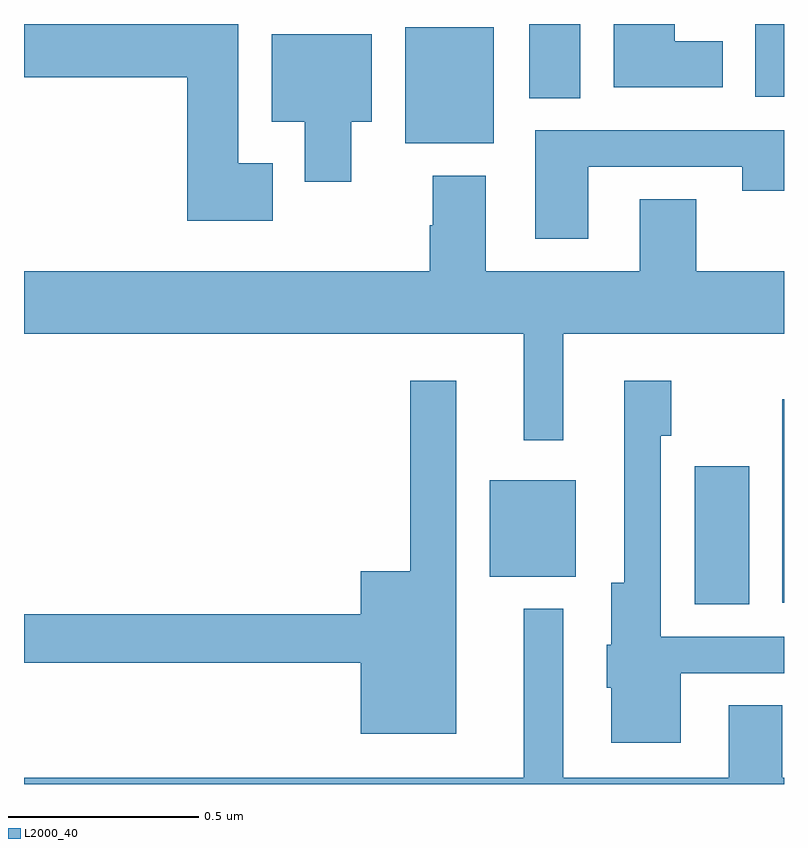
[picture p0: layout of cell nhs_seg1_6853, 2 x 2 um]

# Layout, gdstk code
import gdstk
lib = gdstk.Library(unit=1e-6, precision=1e-09)
def R(c, l, rs):  # rectangles x0, y0, x1, y1
    for r in rs: c.add(gdstk.rectangle(r[:2], r[2:], *l))
def P(c, l, *ps):  # polygons
    for p in ps: c.add(gdstk.Polygon(p, *l))
L2000_40 = (2000, 40)

nhs_seg1_6853 = lib.new_cell('nhs_seg1_6853')
R(nhs_seg1_6853, L2000_40, [(197.765,565.672,197.908,566.035), (197.996,565.676,198,566.212), (197.225,565.745,197.452,565.999), (197.003,566.885,197.236,567.19), (197.33,567.004,197.464,567.199), (197.924,567.008,198,567.199)])
P(nhs_seg1_6853, L2000_40, [(196.654,566.833),(196.564,566.833),(196.564,567.199),(196,567.199),(196,567.059),(196.43,567.059),(196.43,566.681),(196.654,566.681)],
  [(197.839,567.154),(197.713,567.154),(197.713,567.199),(197.552,567.199),(197.552,567.032),(197.839,567.032)],
  [(196.861,566.942),(196.915,566.942),(196.915,567.172),(196.652,567.172),(196.652,566.942),(196.739,566.942),(196.739,566.784),(196.861,566.784)],
  [(197.485,566.823),(197.89,566.823),(197.89,566.76),(198,566.76),(198,566.919),(197.345,566.919),(197.345,566.634),(197.485,566.634)],
  [(197.419,566.384),(198,566.384),(198,566.548),(197.769,566.548),(197.769,566.738),(197.621,566.738),(197.621,566.548),(197.215,566.548),(197.215,566.8),(197.075,566.8),(197.075,566.669),(197.068,566.669),(197.068,566.548),(196,566.548),(196,566.384),(197.315,566.384),(197.315,566.103),(197.419,566.103)],
  [(197.137,566.26),(197.016,566.26),(197.016,565.759),(196.886,565.759),(196.886,565.646),(196,565.646),(196,565.518),(196.886,565.518),(196.886,565.331),(197.137,565.331)],
  [(197.728,565.491),(198,565.491),(198,565.587),(197.676,565.587),(197.676,566.115),(197.703,566.115),(197.703,566.26),(197.58,566.26),(197.58,565.729),(197.546,565.729),(197.546,565.566),(197.534,565.566),(197.534,565.452),(197.546,565.452),(197.546,565.307),(197.728,565.307)],
  [(196,565.199),(198,565.199),(198,565.216),(197.995,565.216),(197.995,565.406),(197.855,565.406),(197.855,565.216),(197.419,565.216),(197.419,565.66),(197.315,565.66),(197.315,565.216),(196,565.216)])

lib.write_gds('nhs_seg1_6853.gds')
